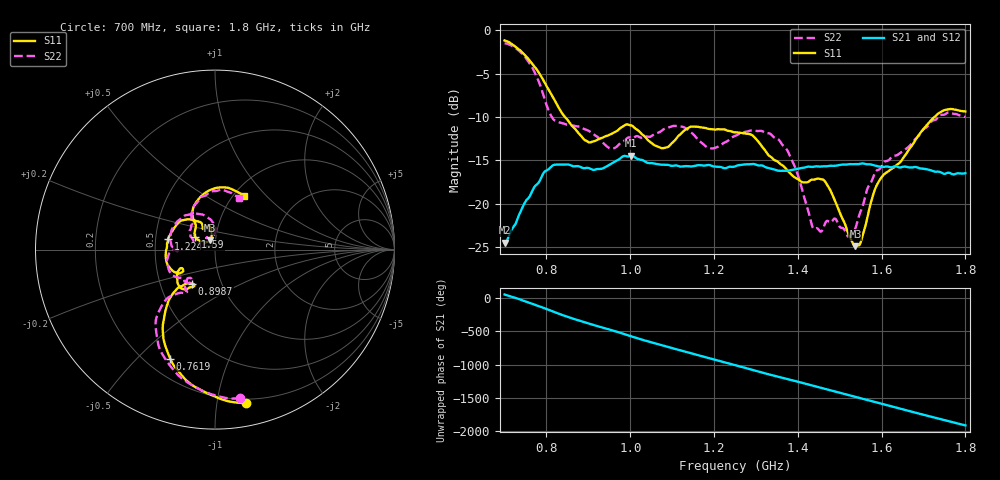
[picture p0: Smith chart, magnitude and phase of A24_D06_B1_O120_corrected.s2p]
! Created with skrf 1.9.0 (http://scikit-rf.org).
# Hz S RI R 50.0
!freq ReS11 ImS11 ReS21 ImS21 ReS12 ImS12 ReS22 ImS22
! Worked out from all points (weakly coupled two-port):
!   1601 points, 700 MHz to 1.8 GHz, reference 50 ohm
!   highest |S21| = -14.45 dB at 1.002 GHz (marker M1); lowest = -24.5 dB at 701.4 MHz (marker M2)
!   lowest |S11| = -24.9 dB at 1.537 GHz (marker M3), VSWR 1.12, Z = 47.2 + j4.81 ohm
!   |S11| at or under -10 dB: 844 MHz to 1.726 GHz (881.7 MHz wide, 68.6 % of centre)
!   |S22| runs from -23.8 to -1.5 dB; largest |S21 - S12| = 0.0035
!   S11 on the Smith chart (normalised r, x): 700 MHz: 0.17, -1.21; 761.9 MHz: 0.29, -0.63; 898.7 MHz: 0.73, -0.29; 1.224 GHz: 0.58, +0.07; 1.59 GHz: 0.79, +0.11; 1.8 GHz: 1.12, +0.76
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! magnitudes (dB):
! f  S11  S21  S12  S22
! 700 MHz  -1.2  -24.4  -24.2  -1.5
! 701.4 MHz  -1.2  -24.5  -24.1  -1.5
! 761.9 MHz  -3.7  -18.9  -18.9  -4.0
! 815.5 MHz  -7.7  -15.6  -15.6  -10.2
! 883.6 MHz  -12.2  -15.8  -15.7  -11.2
! 898.7 MHz  -12.8  -15.9  -15.9  -11.5
! 953.7 MHz  -12.0  -15.4  -15.4  -13.6
! 1.002 GHz  -11.0  -14.5  -14.6  -12.4
! 1.067 GHz  -13.4  -15.4  -15.4  -11.8
! 1.145 GHz  -11.1  -15.7  -15.7  -11.8
! 1.224 GHz  -11.4  -15.9  -15.9  -13.0
! 1.25 GHz  -11.8  -15.7  -15.6  -12.2
! 1.357 GHz  -15.3  -16.2  -16.1  -12.7
! 1.394 GHz  -17.0  -16.0  -16.0  -15.9
! 1.434 GHz  -17.2  -15.8  -15.7  -22.5
! 1.468 GHz  -17.6  -15.7  -15.7  -22.0
! 1.537 GHz  -24.9  -15.4  -15.4  -22.8
! 1.551 GHz  -24.3  -15.4  -15.4  -20.7
! 1.59 GHz  -17.7  -15.7  -15.6  -16.1
! 1.617 GHz  -16.2  -15.7  -15.7  -15.0
! 1.733 GHz  -9.7  -16.3  -16.3  -10.1
! 1.8 GHz  -9.4  -16.5  -16.5  -10.0
